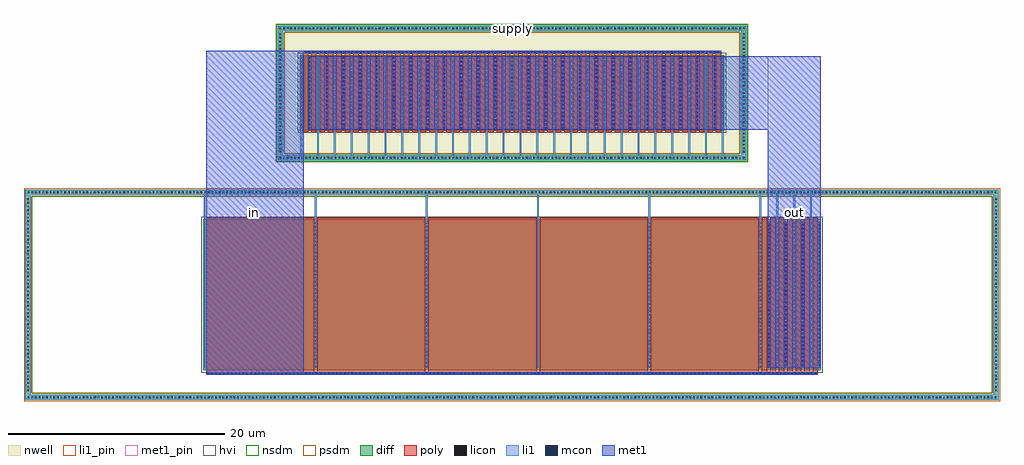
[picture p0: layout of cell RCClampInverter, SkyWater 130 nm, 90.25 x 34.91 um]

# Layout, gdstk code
import gdstk
lib = gdstk.Library(unit=1e-6, precision=1e-09)
def R(c, l, rs):  # rectangles x0, y0, x1, y1
    for r in rs: c.add(gdstk.rectangle(r[:2], r[2:], *l))
def A(c, l, x, y, w, h, nx, ny, dx, dy):  # array of equal rectangles
    R(c, l, [(x+i*dx, y+j*dy, x+i*dx+w, y+j*dy+h) for i in range(nx) for j in range(ny)])
def P(c, l, *ps):  # polygons
    for p in ps: c.add(gdstk.Polygon(p, *l))
nwell = (64, 20)
diff = (65, 20)
poly = (66, 20)
licon = (66, 44)
li1_pin = (67, 16)
li1 = (67, 20)
mcon = (67, 44)
met1_pin = (68, 16)
met1 = (68, 20)
hvi = (75, 20)
nsdm = (93, 44)
psdm = (94, 20)

guardring_p18000w3888hft = lib.new_cell('GuardRing_P18000W3888HFT')
P(guardring_p18000w3888hft, diff, [(-45,-9.72),(-45,9.24),(-44.52,9.24),(-44.52,-9.24),(44.52,-9.24),(44.52,9.24),(-45,9.24),(-45,9.72),(45,9.72),(45,-9.72)])
A(guardring_p18000w3888hft, licon, -44.795, -9.565, 0.17, 0.17, 264, 2, 0.34, 18.96)
A(guardring_p18000w3888hft, licon, -44.845, -8.925, 0.17, 0.17, 1, 53, 0, 0.34)
A(guardring_p18000w3888hft, licon, 44.675, -8.925, 0.17, 0.17, 1, 53, 0, 0.34)
P(guardring_p18000w3888hft, li1, [(-45,-9.72),(-45,9.24),(-44.52,9.24),(-44.52,-9.24),(44.52,-9.24),(44.52,9.24),(-45,9.24),(-45,9.72),(45,9.72),(45,-9.72)])
R(guardring_p18000w3888hft, nsdm, [(-44.395,-9.115,44.395,9.115)])
P(guardring_p18000w3888hft, psdm, [(-45.125,-9.845),(-45.125,9.115),(-44.395,9.115),(-44.395,-9.115),(44.395,-9.115),(44.395,9.115),(-45.125,9.115),(-45.125,9.845),(45.125,9.845),(45.125,-9.845)])

guardring_n8666w2488htt = lib.new_cell('GuardRing_N8666W2488HTT')
R(guardring_n8666w2488htt, nwell, [(-21.845,-6.4,21.845,6.4)])
P(guardring_n8666w2488htt, diff, [(-21.665,-6.22),(-21.665,5.74),(-21.185,5.74),(-21.185,-5.74),(21.185,-5.74),(21.185,5.74),(-21.665,5.74),(-21.665,6.22),(21.665,6.22),(21.665,-6.22)])
A(guardring_n8666w2488htt, licon, -21.505, -6.065, 0.17, 0.17, 127, 2, 0.34, 11.96)
A(guardring_n8666w2488htt, licon, -21.51, -5.525, 0.17, 0.17, 1, 33, 0, 0.34)
A(guardring_n8666w2488htt, licon, 21.34, -5.525, 0.17, 0.17, 1, 33, 0, 0.34)
P(guardring_n8666w2488htt, li1, [(-21.665,-6.22),(-21.665,5.74),(-21.185,5.74),(-21.185,-5.74),(21.185,-5.74),(21.185,5.74),(-21.665,5.74),(-21.665,6.22),(21.665,6.22),(21.665,-6.22)])
P(guardring_n8666w2488htt, nsdm, [(-21.79,-6.345),(-21.79,5.615),(-21.06,5.615),(-21.06,-5.615),(21.06,-5.615),(21.06,5.615),(-21.79,5.615),(-21.79,6.345),(21.79,6.345),(21.79,-6.345)])
R(guardring_n8666w2488htt, psdm, [(-21.06,-5.615,21.06,5.615)])

rcclampinverter = lib.new_cell('RCClampInverter')
A(rcclampinverter, nwell, 25.195, 24.7, 0.61, 7.36, 51, 1, 0.78, 0)
R(rcclampinverter, nwell, [(25.21,24.7,64.79,32.06)])
R(rcclampinverter, diff, [(16.445,2.72,73.555,16.72), (25.375,24.88,64.625,31.88)])
P(rcclampinverter, poly, [(25.64,24.75),(25.64,32.29),(64.36,32.29),(64.36,24.75),(63.86,24.75),(63.86,32.02),(63.58,32.02),(63.58,24.75),(63.08,24.75),(63.08,32.02),(62.8,32.02),(62.8,24.75),(62.3,24.75),(62.3,32.02),(62.02,32.02),(62.02,24.75),(61.52,24.75),(61.52,32.02),(61.24,32.02),(61.24,24.75),(60.74,24.75),(60.74,32.02),(60.46,32.02),(60.46,24.75),(59.96,24.75),(59.96,32.02),(59.68,32.02),(59.68,24.75),(59.18,24.75),(59.18,32.02),(58.9,32.02),(58.9,24.75),(58.4,24.75),(58.4,32.02),(58.12,32.02),(58.12,24.75),(57.62,24.75),(57.62,32.02),(57.34,32.02),(57.34,24.75),(56.84,24.75),(56.84,32.02),(56.56,32.02),(56.56,24.75),(56.06,24.75),(56.06,32.02),(55.78,32.02),(55.78,24.75),(55.28,24.75),(55.28,32.02),(55,32.02),(55,24.75),(54.5,24.75),(54.5,32.02),(54.22,32.02),(54.22,24.75),(53.72,24.75),(53.72,32.02),(53.44,32.02),(53.44,24.75),(52.94,24.75),(52.94,32.02),(52.66,32.02),(52.66,24.75),(52.16,24.75),(52.16,32.02),(51.88,32.02),(51.88,24.75),(51.38,24.75),(51.38,32.02),(51.1,32.02),(51.1,24.75),(50.6,24.75),(50.6,32.02),(50.32,32.02),(50.32,24.75),(49.82,24.75),(49.82,32.02),(49.54,32.02),(49.54,24.75),(49.04,24.75),(49.04,32.02),(48.76,32.02),(48.76,24.75),(48.26,24.75),(48.26,32.02),(47.98,32.02),(47.98,24.75),(47.48,24.75),(47.48,32.02),(47.2,32.02),(47.2,24.75),(46.7,24.75),(46.7,32.02),(46.42,32.02),(46.42,24.75),(45.92,24.75),(45.92,32.02),(45.64,32.02),(45.64,24.75),(45.14,24.75),(45.14,32.02),(44.86,32.02),(44.86,24.75),(44.36,24.75),(44.36,32.02),(44.08,32.02),(44.08,24.75),(43.58,24.75),(43.58,32.02),(43.3,32.02),(43.3,24.75),(42.8,24.75),(42.8,32.02),(42.52,32.02),(42.52,24.75),(42.02,24.75),(42.02,32.02),(41.74,32.02),(41.74,24.75),(41.24,24.75),(41.24,32.02),(40.96,32.02),(40.96,24.75),(40.46,24.75),(40.46,32.02),(40.18,32.02),(40.18,24.75),(39.68,24.75),(39.68,32.02),(39.4,32.02),(39.4,24.75),(38.9,24.75),(38.9,32.02),(38.62,32.02),(38.62,24.75),(38.12,24.75),(38.12,32.02),(37.84,32.02),(37.84,24.75),(37.34,24.75),(37.34,32.02),(37.06,32.02),(37.06,24.75),(36.56,24.75),(36.56,32.02),(36.28,32.02),(36.28,24.75),(35.78,24.75),(35.78,32.02),(35.5,32.02),(35.5,24.75),(35,24.75),(35,32.02),(34.72,32.02),(34.72,24.75),(34.22,24.75),(34.22,32.02),(33.94,32.02),(33.94,24.75),(33.44,24.75),(33.44,32.02),(33.16,32.02),(33.16,24.75),(32.66,24.75),(32.66,32.02),(32.38,32.02),(32.38,24.75),(31.88,24.75),(31.88,32.02),(31.6,32.02),(31.6,24.75),(31.1,24.75),(31.1,32.02),(30.82,32.02),(30.82,24.75),(30.32,24.75),(30.32,32.02),(30.04,32.02),(30.04,24.75),(29.54,24.75),(29.54,32.02),(29.26,32.02),(29.26,24.75),(28.76,24.75),(28.76,32.02),(28.48,32.02),(28.48,24.75),(27.98,24.75),(27.98,32.02),(27.7,32.02),(27.7,24.75),(27.2,24.75),(27.2,32.02),(26.92,32.02),(26.92,24.75),(26.42,24.75),(26.42,32.02),(26.14,32.02),(26.14,24.75)],
  [(16.71,2.31),(16.71,16.85),(26.71,16.85),(26.71,2.58),(26.99,2.58),(26.99,16.85),(36.99,16.85),(36.99,2.58),(37.27,2.58),(37.27,16.85),(47.27,16.85),(47.27,2.58),(47.55,2.58),(47.55,16.85),(57.55,16.85),(57.55,2.58),(57.83,2.58),(57.83,16.85),(67.83,16.85),(67.83,2.58),(68.11,2.58),(68.11,16.85),(68.61,16.85),(68.61,2.58),(68.89,2.58),(68.89,16.85),(69.39,16.85),(69.39,2.58),(69.67,2.58),(69.67,16.85),(70.17,16.85),(70.17,2.58),(70.45,2.58),(70.45,16.85),(70.95,16.85),(70.95,2.58),(71.23,2.58),(71.23,16.85),(71.73,16.85),(71.73,2.58),(72.01,2.58),(72.01,16.85),(72.51,16.85),(72.51,2.58),(72.79,2.58),(72.79,16.85),(73.29,16.85),(73.29,2.31)])
A(rcclampinverter, licon, 16.865, 2.36, 0.17, 0.17, 166, 1, 0.34, 0)
A(rcclampinverter, licon, 16.485, 3.005, 0.17, 0.17, 6, 40, 10.28, 0.34)
A(rcclampinverter, licon, 68.665, 3.005, 0.17, 0.17, 7, 40, 0.78, 0.34)
A(rcclampinverter, licon, 25.415, 25.065, 0.17, 0.17, 51, 20, 0.78, 0.34)
A(rcclampinverter, licon, 25.875, 32.07, 0.17, 0.17, 113, 1, 0.34, 0)
R(rcclampinverter, li1_pin, [(23.335,34.12,66.665,34.6)])
A(rcclampinverter, li1, 16.485, 2.925, 0.17, 16.515, 6, 1, 10.28, 0)
A(rcclampinverter, li1, 68.665, 2.925, 0.17, 13.59, 4, 1, 1.56, 0)
A(rcclampinverter, li1, 69.445, 2.925, 0.17, 16.515, 3, 1, 1.56, 0)
A(rcclampinverter, li1, 25.415, 22.16, 0.17, 9.615, 26, 1, 1.56, 0)
A(rcclampinverter, li1, 26.195, 24.985, 0.17, 6.79, 25, 1, 1.56, 0)
R(rcclampinverter, li1, [(16.71,2.36,73.29,2.53), (25.64,32.07,64.36,32.255), (23.335,34.12,66.665,34.6)])
A(rcclampinverter, mcon, 16.835, 2.36, 0.17, 0.17, 157, 1, 0.36, 0)
A(rcclampinverter, mcon, 68.665, 3.155, 0.17, 0.17, 4, 37, 1.56, 0.36)
A(rcclampinverter, mcon, 26.195, 25.055, 0.17, 0.17, 25, 19, 1.56, 0.36)
A(rcclampinverter, mcon, 25.835, 32.085, 0.17, 0.17, 107, 1, 0.36, 0)
R(rcclampinverter, met1_pin, [(16.71,2.33,25.745,32.285), (68.635,2.925,73.545,31.775)])
P(rcclampinverter, met1, [(16.71,2.33),(16.71,32.285),(64.36,32.285),(64.36,32.055),(25.745,32.055),(25.745,2.56),(73.29,2.56),(73.29,2.33)],
  [(68.635,2.925),(68.635,24.985),(26.165,24.985),(26.165,31.775),(73.545,31.775),(73.545,2.925)])
R(rcclampinverter, hvi, [(16.265,2.52,73.735,16.92), (25.195,24.68,64.805,32.08)])
P(rcclampinverter, nsdm, [(16.335,2.595),(16.335,2.65),(16.32,2.65),(16.32,16.79),(16.335,16.79),(16.335,16.845),(73.665,16.845),(73.665,16.79),(73.68,16.79),(73.68,2.65),(73.665,2.65),(73.665,2.595)])
P(rcclampinverter, psdm, [(25.265,24.755),(25.265,24.81),(25.25,24.81),(25.25,31.95),(25.265,31.95),(25.265,32.005),(64.735,32.005),(64.735,31.95),(64.75,31.95),(64.75,24.81),(64.735,24.81),(64.735,24.755)])
rcclampinverter.add(gdstk.Reference(guardring_p18000w3888hft, (45,9.72)))
rcclampinverter.add(gdstk.Reference(guardring_n8666w2488htt, (45,28.38)))
rcclampinverter.add(gdstk.Label('in', (21.227,17.308), layer=68, texttype=16))
rcclampinverter.add(gdstk.Label('out', (71.09,17.35), layer=68, texttype=16))
rcclampinverter.add(gdstk.Label('supply', (45,34.36), layer=67, texttype=16))

lib.write_gds('RCClampInverter.gds')
